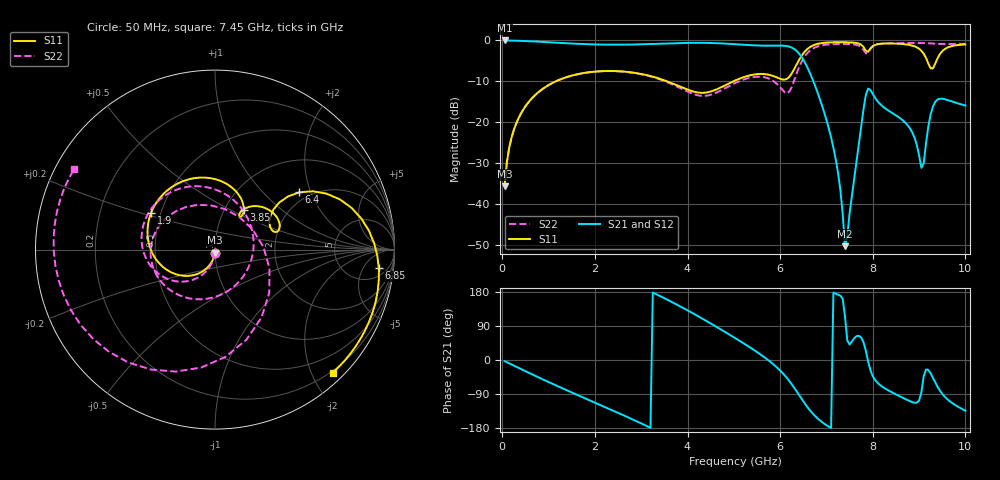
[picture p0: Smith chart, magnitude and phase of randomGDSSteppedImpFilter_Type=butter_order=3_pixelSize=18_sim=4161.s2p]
! freq	dB(S11)	phase(S11)	dB(S12)	phase(S12)
!  dB(S21)	phase(S21)	dB(S22)	phase(S22)
!S-par simulation data
#  GHz  S  DB  R 50
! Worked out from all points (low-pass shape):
!   200 points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, 50 MHz to 10 GHz, reference 50 ohm
!   highest |S21| = 0.00 dB at 50 MHz (marker M1); lowest = -50.2 dB at 7.4 GHz (marker M2)
!   |S21| within 3 dB of the highest: start of sweep to 6.393 GHz
!   lowest |S11| = -35.6 dB at 50 MHz (marker M3), VSWR 1.03, Z = 49.9 - j1.64 ohm
!   |S11| at or under -10 dB: start of sweep to 1.153 GHz; 3.561 GHz to 4.987 GHz (1.427 GHz wide, 33.4 % of centre)
!   |S22| runs from -35.6 to -0.6 dB; largest |S21 - S12| = 0
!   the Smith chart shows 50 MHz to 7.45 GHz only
!   S11 on the Smith chart (normalised r, x): 50 MHz: 1.00, -0.03; 1.9 GHz: 0.44, +0.22; 3.85 GHz: 1.23, +0.58; 6.4 GHz: 1.77, +1.66; 6.85 GHz: 8, -11; 7.45 GHz: 0.17, -2.33
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0.05  -35.64 -93.4  -0.00 -3.0  -0.00 -3.0  -35.64 -92.8
0.2  -23.72 -103.6  -0.04 -11.9  -0.04 -11.9  -23.72 -100.9
0.5  -16.09 -123.4  -0.15 -29.6  -0.15 -29.6  -16.08 -116.8
1.75  -7.98 159.0  -0.88 -99.2  -0.88 -99.2  -7.98 -178.6
1.9  -7.73 150.2  -0.94 -107.2  -0.94 -107.2  -7.74 174.2
3.4  -9.36 68.9  -0.80 169.1  -0.80 169.1  -9.51 89.6
3.85  -11.34 53.8  -0.63 140.9  -0.63 140.9  -11.70 49.0
5.05  -9.68 47.6  -0.94 56.2  -0.94 56.2  -10.29 -117.1
5.9  -8.90 16.1  -1.26 -16.3  -1.26 -16.3  -10.32 135.0
6.4  -4.92 34.2  -3.09 -90.9  -3.09 -90.9  -6.78 -55.5
6.7  -1.27 7.0  -9.50 -140.8  -9.50 -140.8  -2.02 -127.4
6.85  -0.74 -6.5  -14.07 -158.6  -14.07 -158.6  -1.33 -150.8
7.2  -0.44 -31.3  -29.01 175.2  -29.01 175.2  -0.88 171.0
7.4  -0.44 -43.4  -50.24 115.2  -50.24 115.2  -0.86 154.1
7.45  -0.46 -46.3  -47.78 51.4  -47.78 51.4  -0.87 150.1
7.85  -2.51 -69.5  -13.29 24.6  -13.29 24.6  -3.15 124.0
8.35  -0.74 -85.6  -17.23 -81.2  -17.23 -81.2  -0.69 100.4
8.8  -1.13 -119.1  -21.44 -108.6  -21.44 -108.6  -0.63 73.8
9.05  -2.52 -159.2  -31.12 -84.8  -31.12 -84.8  -0.63 59.4
9.25  -6.81 102.0  -18.05 -35.3  -18.05 -35.3  -0.74 47.9
9.45  -3.33 -22.6  -14.22 -81.0  -14.22 -81.0  -0.85 37.7
10  -0.98 -95.7  -15.91 -133.7  -15.91 -133.7  -0.85 8.6
